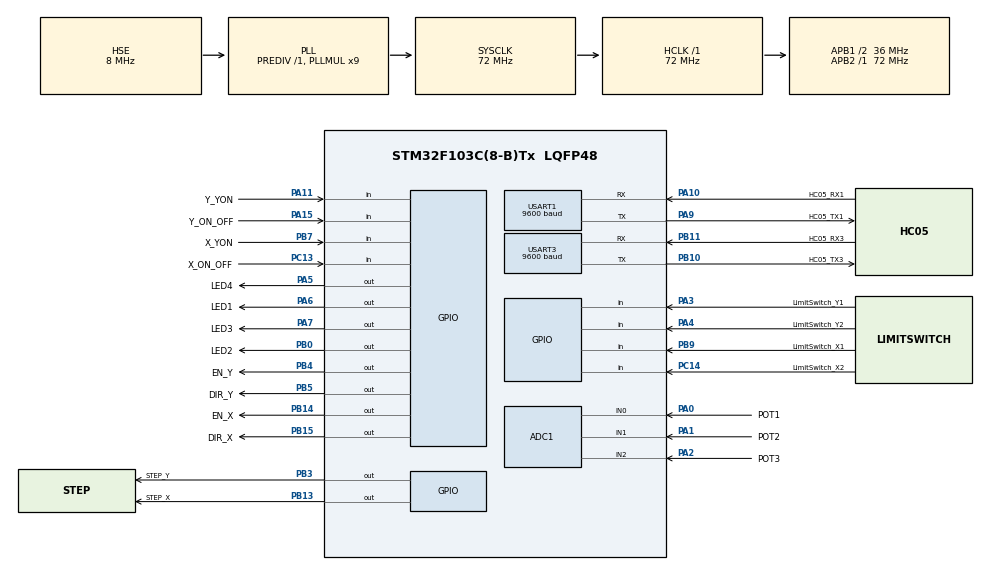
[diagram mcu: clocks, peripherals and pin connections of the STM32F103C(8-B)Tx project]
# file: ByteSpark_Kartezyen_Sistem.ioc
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ADC1.Channel-0\#ChannelRegularConversion=ADC_CHANNEL_0
ADC1.Channel-1\#ChannelRegularConversion=ADC_CHANNEL_1
ADC1.Channel-2\#ChannelRegularConversion=ADC_CHANNEL_2
ADC1.ContinuousConvMode=ENABLE
ADC1.NbrOfConversion=3
ADC1.NbrOfConversionFlag=1
ADC1.Rank-0\#ChannelRegularConversion=1
ADC1.Rank-1\#ChannelRegularConversion=2
ADC1.Rank-2\#ChannelRegularConversion=3
ADC1.SamplingTime-0\#ChannelRegularConversion=ADC_SAMPLETIME_55CYCLES_5
ADC1.SamplingTime-1\#ChannelRegularConversion=ADC_SAMPLETIME_55CYCLES_5
ADC1.SamplingTime-2\#ChannelRegularConversion=ADC_SAMPLETIME_55CYCLES_5
ADC1.master=1
Dma.ADC1.0.Direction=DMA_PERIPH_TO_MEMORY
Dma.ADC1.0.Instance=DMA1_Channel1
Dma.ADC1.0.MemDataAlignment=DMA_MDATAALIGN_WORD
Dma.ADC1.0.MemInc=DMA_MINC_ENABLE
Dma.ADC1.0.Mode=DMA_CIRCULAR
Dma.ADC1.0.PeriphDataAlignment=DMA_PDATAALIGN_WORD
Dma.ADC1.0.PeriphInc=DMA_PINC_DISABLE
Dma.ADC1.0.Priority=DMA_PRIORITY_LOW
Dma.Request0=ADC1
Mcu.Family=STM32F1
Mcu.Name=STM32F103C(8-B)Tx
Mcu.Package=LQFP48
NVIC.DMA1_Channel1_IRQn=true\:0\:0\:false\:false\:true\:false\:true\:true
NVIC.PriorityGroup=NVIC_PRIORITYGROUP_4
NVIC.TIM1_UP_IRQn=true\:0\:0\:false\:false\:true\:true\:true\:true
NVIC.TIM2_IRQn=true\:0\:0\:false\:false\:true\:true\:true\:true
NVIC.TIM3_IRQn=true\:0\:0\:false\:false\:true\:true\:true\:true
NVIC.TIM4_IRQn=true\:0\:0\:false\:false\:true\:true\:true\:true
NVIC.USART1_IRQn=true\:0\:0\:false\:false\:true\:true\:true\:true
NVIC.USART3_IRQn=true\:0\:0\:false\:false\:true\:true\:true\:true
PA0-WKUP.GPIO_Label=POT1
PA0-WKUP.Signal=ADCx_IN0
PA1.GPIO_Label=POT2
PA1.Signal=ADCx_IN1
PA10.GPIO_Label=HC05_RX1
PA10.Mode=Asynchronous
PA10.Signal=USART1_RX
PA11.GPIO_Label=Y_YON
PA11.GPIO_PuPd=GPIO_PULLDOWN
PA11.Signal=GPIO_Input
PA13.Mode=Serial_Wire
PA13.Signal=SYS_JTMS-SWDIO
PA14.Mode=Serial_Wire
PA14.Signal=SYS_JTCK-SWCLK
PA15.GPIO_Label=Y_ON_OFF
PA15.GPIO_PuPd=GPIO_PULLDOWN
PA15.Signal=GPIO_Input
PA2.GPIO_Label=POT3
PA2.Signal=ADCx_IN2
PA3.GPIO_Label=LimitSwitch_Y1
PA3.GPIO_PuPd=GPIO_PULLDOWN
PA3.Signal=GPIO_Input
PA4.GPIO_Label=LimitSwitch_Y2
PA4.GPIO_PuPd=GPIO_PULLDOWN
PA4.Signal=GPIO_Input
PA5.GPIO_Label=LED4
PA5.Signal=GPIO_Output
PA6.GPIO_Label=LED1
PA6.Signal=GPIO_Output
PA7.GPIO_Label=LED3
PA7.Signal=GPIO_Output
PA9.GPIO_Label=HC05_TX1
PA9.Mode=Asynchronous
PA9.Signal=USART1_TX
PB0.GPIO_Label=LED2
PB0.Signal=GPIO_Output
PB10.GPIO_Label=HC05_TX3
PB10.Mode=Asynchronous
PB10.Signal=USART3_TX
PB11.GPIO_Label=HC05_RX3
PB11.Mode=Asynchronous
PB11.Signal=USART3_RX
PB13.GPIO_Label=STEP_X
PB13.Signal=GPIO_Output
PB14.GPIO_Label=EN_X
PB14.Signal=GPIO_Output
PB15.GPIO_Label=DIR_X
PB15.Signal=GPIO_Output
PB3.GPIO_Label=STEP_Y
PB3.Signal=GPIO_Output
PB4.GPIO_Label=EN_Y
PB4.Signal=GPIO_Output
PB5.GPIO_Label=DIR_Y
PB5.Signal=GPIO_Output
PB7.GPIO_Label=X_YON
PB7.Signal=GPIO_Input
PB9.GPIO_Label=LimitSwitch_X1
PB9.GPIO_PuPd=GPIO_PULLDOWN
PB9.Signal=GPIO_Input
PC13-TAMPER-RTC.GPIO_Label=X_ON_OFF
PC13-TAMPER-RTC.GPIO_PuPd=GPIO_NOPULL
PC13-TAMPER-RTC.Signal=GPIO_Input
PC14-OSC32_IN.GPIO_Label=LimitSwitch_X2
PC14-OSC32_IN.GPIO_PuPd=GPIO_PULLDOWN
PC14-OSC32_IN.Signal=GPIO_Input
PD0-OSC_IN.Mode=HSE-External-Oscillator
PD0-OSC_IN.Signal=RCC_OSC_IN
PD1-OSC_OUT.Mode=HSE-External-Oscillator
PD1-OSC_OUT.Signal=RCC_OSC_OUT
ProjectManager.HeapSize=0x200
ProjectManager.StackSize=0x400
ProjectManager.TargetToolchain=STM32CubeIDE
RCC.ADCPresc=RCC_ADCPCLK2_DIV6
RCC.AHBFreq_Value=72000000
RCC.APB1CLKDivider=RCC_HCLK_DIV2
RCC.APB1Freq_Value=36000000
RCC.APB1TimFreq_Value=72000000
RCC.APB2Freq_Value=72000000
RCC.APB2TimFreq_Value=72000000
RCC.HCLKFreq_Value=72000000
RCC.PLLMUL=RCC_PLL_MUL9
RCC.PLLSourceVirtual=RCC_PLLSOURCE_HSE
RCC.SYSCLKFreq_VALUE=72000000
RCC.SYSCLKSource=RCC_SYSCLKSOURCE_PLLCLK
RCC.USBFreq_Value=72000000
SH.ADCx_IN0.0=ADC1_IN0,IN0
SH.ADCx_IN1.0=ADC1_IN1,IN1
SH.ADCx_IN2.0=ADC1_IN2,IN2
TIM1.Period=1000-1
TIM1.Prescaler=7200-1
TIM2.Period=500-1
TIM2.Prescaler=72-1
TIM3.Period=500-1
TIM3.Prescaler=72-1
TIM4.Period=500-1
TIM4.Prescaler=72-1
USART1.BaudRate=9600
USART1.Mode=MODE_RX
USART1.VirtualMode=VM_ASYNC
USART3.BaudRate=9600
USART3.Mode=MODE_RX
USART3.VirtualMode=VM_ASYNC
VP_TIM1_VS_ClockSourceINT.Mode=Internal
VP_TIM2_VS_ClockSourceINT.Mode=Internal
VP_TIM3_VS_ClockSourceINT.Mode=Internal
VP_TIM4_VS_ClockSourceINT.Mode=Internal
board=custom

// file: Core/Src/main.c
/* USER CODE BEGIN Header */
/**
  ******************************************************************************
  * @file           : main.c
  * @brief          : Main program body
  ******************************************************************************
  * @attention
  *
  * Copyright (c) 2023 STMicroelectronics.
  * All rights reserved.
  *
  * This software is licensed under terms that can be found in the LICENSE file
  * in the root directory of this software component.
  * If no LICENSE file comes with this software, it is provided AS-IS.
  *
  ******************************************************************************
  */
/* USER CODE END Header */
#include "main.h"

/* USER CODE BEGIN Includes */
#include "stdbool.h"
#include "string.h"
#include "stdio.h"
#include "math.h"
#include "stdlib.h"
/* USER CODE END Includes */

/* USER CODE BEGIN PTD */

#define PI 3.14159265
#define a1 60	// Kol UzunluÄŸu 1. Kol (cm)
#define a2 50	// Kol UzunluÄŸu 2. Kol (cm)
#define a3 40	// Kol UzunluÄŸu 3. Kol (cm)

#define motor_tam_tur_mesafe 32 //360 derecede 32mm ilerliyor

/* USER CODE END PTD */

/* USER CODE BEGIN PD */

//Motor Kontrol Degiskenleri
bool yon = false; //false: sag true:sol
bool yon_degisim_chc;
bool if_giris_kontrol;
uint8_t false_sayaci;
uint16_t sayac_x,sayac_y, limit_x=3200, limit_y=3200;
bool hareket_izin_x=false, hareket_izin_y=false;

bool adım_takip = false;

//Pot Variable
uint32_t ADC_Buffer[3];
float Pot1, Pot2, Pot3;//3 ADC değişkeni

float eksen_X,eksen_Y;//Kartezyen sistem X ve Y Sınırları

float T01[4][4], T12[4][4], T23[4][4], T02[4][4], T03[4][4]; //ASIL Matrisleri

float P[3][1]; //Pozisyon Matrisi (Çıktı Matrisi)

uint16_t x_ekseni_mesafe_aci_cevrimi;
uint16_t y_ekseni_mesafe_aci_cevrimi;

uint16_t x_ekseni_mesafe_aci_cevrimi_son=0;
uint16_t y_ekseni_mesafe_aci_cevrimi_son=0;

uint16_t x_yeni_dönme_acı_cevrimi;
uint16_t y_yeni_dönme_acı_cevrimi;

//UART DMA Degiskenler
#define RxBuf_SIZE   1
uint8_t len;
uint8_t	RxBuffer[RxBuf_SIZE];
extern DMA_HandleTypeDef hdma_usart1_rx;

/* USER CODE END PD */

ADC_HandleTypeDef hadc1;
DMA_HandleTypeDef hdma_adc1;

TIM_HandleTypeDef htim1;
TIM_HandleTypeDef htim2;
TIM_HandleTypeDef htim3;
TIM_HandleTypeDef htim4;

UART_HandleTypeDef huart1;
UART_HandleTypeDef huart3;

void SystemClock_Config(void);
static void MX_GPIO_Init(void);
static void MX_DMA_Init(void);
static void MX_ADC1_Init(void);
static void MX_USART1_UART_Init(void);
static void MX_USART3_UART_Init(void);
static void MX_TIM2_Init(void);
static void MX_TIM3_Init(void);
static void MX_TIM4_Init(void);
static void MX_TIM1_Init(void);

/* USER CODE BEGIN 0 */
/*
//HC05 Veri Okuma
void HAL_UARTEx_RxEventCallback(UART_HandleTypeDef *huart, uint16_t Size)
{
  if(huart->Instance == USART1)
  {
    HAL_UARTEx_ReceiveToIdle_DMA(&huart1, RxBuffer, RxBuf_SIZE);
		 __HAL_DMA_DISABLE_IT(&hdma_usart1_rx, DMA_IT_HT);
    for(int i=Size;i<RxBuf_SIZE;i++)
      RxBuffer[i]=0;
  }
}
*/

//Matris Çarpım Fonk
void carpim(float m[4][4], float n[4][4], float result[4][4])
{
  for(int i=0; i < 4; i++)
  {
    for(int j=0; j < 4; j++)
    {
      result[i][j] = 0;
      for (int k = 0; k < 4; k++)
      result[i][j] += m[i][k] * n[k][j];
    }
  }
}

//Matris Live Expresion'da Gösterme Fonksiyonu
void matris_donusturme(float ham_matris[4][4], float islenmis_matris[4][4])
{
	for(int i=0;i<4;i++)
	{
		for(int j=0;j<4;j++)
		{
			islenmis_matris[i][j]=ham_matris[i][j];
		}
	}
}

void HAL_UART_RxHalfCpltCallback(UART_HandleTypeDef *huart)
{
  HAL_GPIO_TogglePin (LED1_GPIO_Port, LED1_Pin);
}

//Acı Hesaplama
uint16_t aci_hesaplama(float aci)
{
	float motor_aci = 3200*(aci/360);
	return motor_aci;
}

//Map Fonksiyonu
float map(long x, long in_min, long in_max, long out_min, long out_max) {
  return (x - in_min) * (out_max - out_min) / (in_max - in_min) + out_min;
}

//ADC CallBack Fonksiyonu
void HAL_ADC_ConvCpltCallback(ADC_HandleTypeDef* hadc)
{
	if(hadc -> Instance == ADC1)
	{
		//d1 d2 ve d3 parametreleri 3 adet POT'tan okunmaktadır.
		Pot1 = map(ADC_Buffer[0],0,4096,0,360);
		Pot2 = map(ADC_Buffer[1],0,4096,0,360);
		Pot3 = map(ADC_Buffer[2],0,4096,0,360);
	}
}

//Yon Toggle Yapma Fonk X
void yon_degistir_x(bool buton_input){

	if(buton_input==true){
		false_sayaci=0;

		if(yon_degisim_chc==true && if_giris_kontrol==true){
			HAL_GPIO_WritePin(DIR_X_GPIO_Port,DIR_X_Pin, 0);
			if_giris_kontrol=false;
			yon_degisim_chc=false;
		}
		if(yon_degisim_chc==false && if_giris_kontrol==true){
			HAL_GPIO_WritePin(DIR_X_GPIO_Port,DIR_X_Pin, 1);
			if_giris_kontrol=false;
			yon_degisim_chc=true;
		}
	}
	if(buton_input==false){
		false_sayaci++;
		if(false_sayaci >= 3){
			if_giris_kontrol=true;
			false_sayaci=0;
		}
	}
}

//Yon Toggle Yapma Fonk Y
void yon_degistir_y(bool buton_input){

	if(buton_input==true){
		false_sayaci=0;

		if(yon_degisim_chc==true && if_giris_kontrol==true){
			HAL_GPIO_WritePin(DIR_Y_GPIO_Port,DIR_Y_Pin, 0);
			if_giris_kontrol=false;
			yon_degisim_chc=false;
		}
		if(yon_degisim_chc==false && if_giris_kontrol==true){
			HAL_GPIO_WritePin(DIR_Y_GPIO_Port,DIR_Y_Pin, 1);
			if_giris_kontrol=false;
			yon_degisim_chc=true;
		}
	}
	if(buton_input==false){
		false_sayaci++;
		if(false_sayaci >= 3){
			if_giris_kontrol=true;
			false_sayaci=0;
		}
	}
}

void HAL_TIM_PeriodElapsedCallback(TIM_HandleTypeDef* htim)
{
	if (htim == &htim1)//10Hz	Kinematik Matris İşlemleri
	{
		float d1 = Pot1;	// Degisken UzunluÄŸu 1. Kol
		float d2 = Pot2;	// Degisken UzunluÄŸu 2. Kol
		float d3 = Pot3;	// Degisken UzunluÄŸu 3. Kol

		float val = PI/180; //Radyan Çevirme Çarpanı
		float teta_1=90, alfa_1=90, r_1=0, d_1=a1+d1; //1 DH Satır
		float teta_2=90, alfa_2=-90, r_2=0, d_2=a2+d2; //2 DH Satır
		float teta_3=0, alfa_3=0, r_3=0, d_3=a3+d3; //3 DH Satır

		//T01 matrisi Degiskenleri
		float a_00 = (cos(teta_1*val));
		float a_01 = -sin(teta_1*val)*cos(alfa_1*val);
		float a_11 = cos(teta_1*val)*cos(alfa_1*val);
		float a_12 = -cos(teta_1*val)*sin(alfa_1*val);
		float a_22 = cos(alfa_1*val);

		//T12 matrisi Degiskenleri
		float b_00 = cos(teta_2*val);
		float b_01 = -sin(teta_2*val)*cos(alfa_2*val);
		float b_11 = cos(teta_2*val)*cos(alfa_2*val);
		float b_12 = -cos(teta_2*val)*sin(alfa_2*val);
		float b_22 = cos(alfa_2*val);

		//T23 matrisi Degiskenleri
		float c_01 = (-sin(teta_3*val)*cos(alfa_3*val));
		float c_12 = -cos(teta_3*val)*sin(alfa_3*val);

		//ASIL MATRÄ°SLER
		float a[4][4]={
			{ a_00, a_01, sin(teta_1*val)*sin(alfa_1*val), r_1*cos(teta_1*val)},
			{ sin(teta_1*val), a_11, a_12, r_1*sin(teta_1*val)},
			{0, sin(alfa_1*val), a_22, d_1},
			{0, 0, 0, 1}};

		float b[4][4]={
			{ b_00, b_01, sin(teta_2*val)*sin(alfa_2*val), r_2*cos(teta_2*val)},
			{ sin(teta_2*val), b_11, b_12, r_2*sin(teta_2*val)},
			{0, sin(alfa_2*val), b_22, d_2},
			{0, 0, 0, 1}};

		float c[4][4]={
			{cos(teta_3*val), c_01, sin(teta_3*val)*sin(alfa_3*val), r_3*cos(teta_3*val)},
			{ sin(teta_3*val), cos(teta_3*val)*cos(alfa_3*val), c_12, r_3*sin(teta_3*val)},
			{0, sin(alfa_3*val), cos(alfa_3*val), d_3},
			{0, 0, 0, 1}};

		  matris_donusturme(a, T01);
		  matris_donusturme(b, T12);
		  matris_donusturme(c, T23);

		  carpim(T01, T12, T02);
		  carpim(T02, T23, T03);

		  P[0][0] = T03[0][3];
		  P[1][0] = T03[1][3];
		  P[2][0] = T03[2][3];

		  //X ve Y ekseni Ölçekleme
		  eksen_X = map(P[0][0],50,405,0,59);
		  eksen_Y = map(P[1][0],-40,-395,0,130);

		  if(adım_takip == true)//
		  {
			  x_ekseni_mesafe_aci_cevrimi = ((eksen_X*10) / motor_tam_tur_mesafe)*360;
			  y_ekseni_mesafe_aci_cevrimi = ((eksen_Y*10) / motor_tam_tur_mesafe)*360;
		  }

		  if(adım_takip == false)
		  {
			  x_ekseni_mesafe_aci_cevrimi_son = ((eksen_X*10) / motor_tam_tur_mesafe)*360;
			  y_ekseni_mesafe_aci_cevrimi_son = ((eksen_Y*10) / motor_tam_tur_mesafe)*360;
		  }

		  //Acı Değerleri Yazdırma Koşulları
		  if(x_ekseni_mesafe_aci_cevrimi > x_ekseni_mesafe_aci_cevrimi_son)
		  {
			  yon_degistir_x(1);
			  x_yeni_dönme_acı_cevrimi = x_ekseni_mesafe_aci_cevrimi- x_ekseni_mesafe_aci_cevrimi_son;
		  }

		  if(x_ekseni_mesafe_aci_cevrimi < x_ekseni_mesafe_aci_cevrimi_son)
		  {
			  x_yeni_dönme_acı_cevrimi = x_ekseni_mesafe_aci_cevrimi- x_ekseni_mesafe_aci_cevrimi_son;
		  }

		  if(y_ekseni_mesafe_aci_cevrimi > y_ekseni_mesafe_aci_cevrimi_son)
		  {
			  yon_degistir_y(1);
			  y_yeni_dönme_acı_cevrimi = y_ekseni_mesafe_aci_cevrimi- y_ekseni_mesafe_aci_cevrimi_son;
		  }

		  if(y_ekseni_mesafe_aci_cevrimi < y_ekseni_mesafe_aci_cevrimi_son)
		  {
			  y_yeni_dönme_acı_cevrimi = y_ekseni_mesafe_aci_cevrimi- y_ekseni_mesafe_aci_cevrimi_son;
		  }

	}

	if (htim == &htim2)//2KHz	Genel Step Motor Ayarları
	{

		HAL_GPIO_WritePin(EN_X_GPIO_Port, EN_X_Pin, 0);
		HAL_GPIO_WritePin(EN_Y_GPIO_Port, EN_Y_Pin, 0);

		yon_degistir_x(HAL_GPIO_ReadPin(X_YON_GPIO_Port, X_YON_Pin));
		yon_degistir_y(HAL_GPIO_ReadPin(Y_YON_GPIO_Port, Y_YON_Pin));

		if(HAL_GPIO_ReadPin(Y_ON_OFF_GPIO_Port, Y_ON_OFF_Pin)){
			hareket_izin_y=true;

			adım_takip = true;

			HAL_TIM_Base_Start_IT(&htim4);
		}

		if(HAL_GPIO_ReadPin(X_ON_OFF_GPIO_Port, X_ON_OFF_Pin)){
			hareket_izin_x=true;

			adım_takip = true;

			HAL_TIM_Base_Start_IT(&htim3);
		}
	}

	if (htim == &htim3)//2KHz	X Ekseni Step Motor Hareket
	{
		if(hareket_izin_x==true){
			limit_x=aci_hesaplama(x_ekseni_mesafe_aci_cevrimi);
		}

		HAL_GPIO_TogglePin(STEP_X_GPIO_Port, STEP_X_Pin);
		sayac_x++;

		if(HAL_GPIO_ReadPin(LimitSwitch_X1_GPIO_Port, LimitSwitch_X1_Pin)){
			yon_degistir_x(1);
			sayac_x=0;
			limit_x=aci_hesaplama(75);
			hareket_izin_x=false;
		}

		if(HAL_GPIO_ReadPin(LimitSwitch_X2_GPIO_Port, LimitSwitch_X2_Pin)){
			yon_degistir_x(1);
			sayac_x=0;
			limit_x=aci_hesaplama(75);
			hareket_izin_x=false;
		}

		if(sayac_x >= limit_x){
			sayac_x=0;
			adım_takip = false;

			HAL_TIM_Base_Stop_IT(&htim3);

			//HAL_TIM_Base_Stop_IT(&htim1);
		}
	}

	if (htim == &htim4)//2KHz	Y Ekseni Step Motor Hareket
	{
		if(hareket_izin_y==true){
			limit_y=aci_hesaplama(y_ekseni_mesafe_aci_cevrimi);
		}
		HAL_GPIO_TogglePin(STEP_Y_GPIO_Port, STEP_Y_Pin);
		sayac_y++;

		if(HAL_GPIO_ReadPin(LimitSwitch_Y1_GPIO_Port, LimitSwitch_Y1_Pin)){
			yon_degistir_y(1);
			sayac_y=0;
			limit_y=aci_hesaplama(75);
			hareket_izin_y=false;
		}

		if(HAL_GPIO_ReadPin(LimitSwitch_Y2_GPIO_Port, LimitSwitch_Y2_Pin)){
			yon_degistir_y(1);
			sayac_y=0;
			limit_y=aci_hesaplama(75);
			hareket_izin_y=false;
		}

		if(sayac_y >= limit_y){
			sayac_y=0;
			adım_takip = false;

			HAL_TIM_Base_Stop_IT(&htim4);

			//HAL_TIM_Base_Stop_IT(&htim1);
		}
	}
}

/* USER CODE END 0 */

int main(void)
{

  /* MCU Configuration--------------------------------------------------------*/

  /* Reset of all peripherals, Initializes the Flash interface and the Systick. */
   HAL_Init();

  /* Configure the system clock */
  SystemClock_Config();

  /* Initialize all configured peripherals */
  MX_GPIO_Init();
  MX_DMA_Init();
  MX_ADC1_Init();
  MX_USART1_UART_Init();
  MX_USART3_UART_Init();
  MX_TIM2_Init();
  MX_TIM3_Init();
  MX_TIM4_Init();
  MX_TIM1_Init();
  /* USER CODE BEGIN 2 */
  //Timer Start
  HAL_TIM_Base_Start_IT(&htim2);
  HAL_TIM_Base_Start_IT(&htim1);

  //ADC DMA Start
  HAL_ADC_Start_DMA(&hadc1, ADC_Buffer, 3);
  /* USER CODE END 2 */

  /* Infinite loop */
  while (1)
  {

  }
}

void SystemClock_Config(void)
{
  RCC_OscInitTypeDef RCC_OscInitStruct = {0};
  RCC_ClkInitTypeDef RCC_ClkInitStruct = {0};
  RCC_PeriphCLKInitTypeDef PeriphClkInit = {0};

  /** Initializes the RCC Oscillators according to the specified parameters
  * in the RCC_OscInitTypeDef structure.
  */
  RCC_OscInitStruct.OscillatorType = RCC_OSCILLATORTYPE_HSE;
  RCC_OscInitStruct.HSEState = RCC_HSE_ON;
  RCC_OscInitStruct.HSEPredivValue = RCC_HSE_PREDIV_DIV1;
  RCC_OscInitStruct.HSIState = RCC_HSI_ON;
  RCC_OscInitStruct.PLL.PLLState = RCC_PLL_ON;
  RCC_OscInitStruct.PLL.PLLSource = RCC_PLLSOURCE_HSE;
  RCC_OscInitStruct.PLL.PLLMUL = RCC_PLL_MUL9;
  if (HAL_RCC_OscConfig(&RCC_OscInitStruct) != HAL_OK)
  {
    Error_Handler();
  }

  /** Initializes the CPU, AHB and APB buses clocks
  */
  RCC_ClkInitStruct.ClockType = RCC_CLOCKTYPE_HCLK|RCC_CLOCKTYPE_SYSCLK
                              |RCC_CLOCKTYPE_PCLK1|RCC_CLOCKTYPE_PCLK2;
  RCC_ClkInitStruct.SYSCLKSource = RCC_SYSCLKSOURCE_PLLCLK;
  RCC_ClkInitStruct.AHBCLKDivider = RCC_SYSCLK_DIV1;
  RCC_ClkInitStruct.APB1CLKDivider = RCC_HCLK_DIV2;
  RCC_ClkInitStruct.APB2CLKDivider = RCC_HCLK_DIV1;

  if (HAL_RCC_ClockConfig(&RCC_ClkInitStruct, FLASH_LATENCY_2) != HAL_OK)
  {
    Error_Handler();
  }
  PeriphClkInit.PeriphClockSelection = RCC_PERIPHCLK_ADC;
  PeriphClkInit.AdcClockSelection = RCC_ADCPCLK2_DIV6;
  if (HAL_RCCEx_PeriphCLKConfig(&PeriphClkInit) != HAL_OK)
  {
    Error_Handler();
  }
}

static void MX_ADC1_Init(void)
{

  ADC_ChannelConfTypeDef sConfig = {0};

  /** Common config
  */
  hadc1.Instance = ADC1;
  hadc1.Init.ScanConvMode = ADC_SCAN_ENABLE;
  hadc1.Init.ContinuousConvMode = ENABLE;
  hadc1.Init.DiscontinuousConvMode = DISABLE;
  hadc1.Init.ExternalTrigConv = ADC_SOFTWARE_START;
  hadc1.Init.DataAlign = ADC_DATAALIGN_RIGHT;
  hadc1.Init.NbrOfConversion = 3;
  if (HAL_ADC_Init(&hadc1) != HAL_OK)
  {
    Error_Handler();
  }

  /** Configure Regular Channel
  */
  sConfig.Channel = ADC_CHANNEL_0;
  sConfig.Rank = ADC_REGULAR_RANK_1;
  sConfig.SamplingTime = ADC_SAMPLETIME_55CYCLES_5;
  if (HAL_ADC_ConfigChannel(&hadc1, &sConfig) != HAL_OK)
  {
    Error_Handler();
  }

  /** Configure Regular Channel
  */
  sConfig.Channel = ADC_CHANNEL_1;
  sConfig.Rank = ADC_REGULAR_RANK_2;
  if (HAL_ADC_ConfigChannel(&hadc1, &sConfig) != HAL_OK)
  {
    Error_Handler();
  }

  /** Configure Regular Channel
  */
  sConfig.Channel = ADC_CHANNEL_2;
  sConfig.Rank = ADC_REGULAR_RANK_3;
  if (HAL_ADC_ConfigChannel(&hadc1, &sConfig) != HAL_OK)
  {
    Error_Handler();
  }

}

static void MX_TIM1_Init(void)
{

  TIM_ClockConfigTypeDef sClockSourceConfig = {0};
  TIM_MasterConfigTypeDef sMasterConfig = {0};

  htim1.Instance = TIM1;
  htim1.Init.Prescaler = 7200-1;
  htim1.Init.CounterMode = TIM_COUNTERMODE_UP;
  htim1.Init.Period = 1000-1;
  htim1.Init.ClockDivision = TIM_CLOCKDIVISION_DIV1;
  htim1.Init.RepetitionCounter = 0;
  htim1.Init.AutoReloadPreload = TIM_AUTORELOAD_PRELOAD_DISABLE;
  if (HAL_TIM_Base_Init(&htim1) != HAL_OK)
  {
    Error_Handler();
  }
  sClockSourceConfig.ClockSource = TIM_CLOCKSOURCE_INTERNAL;
  if (HAL_TIM_ConfigClockSource(&htim1, &sClockSourceConfig) != HAL_OK)
  {
    Error_Handler();
  }
  sMasterConfig.MasterOutputTrigger = TIM_TRGO_RESET;
  sMasterConfig.MasterSlaveMode = TIM_MASTERSLAVEMODE_DISABLE;
  if (HAL_TIMEx_MasterConfigSynchronization(&htim1, &sMasterConfig) != HAL_OK)
  {
    Error_Handler();
  }

}

static void MX_TIM2_Init(void)
{

  TIM_ClockConfigTypeDef sClockSourceConfig = {0};
  TIM_MasterConfigTypeDef sMasterConfig = {0};

  htim2.Instance = TIM2;
  htim2.Init.Prescaler = 72-1;
  htim2.Init.CounterMode = TIM_COUNTERMODE_UP;
  htim2.Init.Period = 500-1;
  htim2.Init.ClockDivision = TIM_CLOCKDIVISION_DIV1;
  htim2.Init.AutoReloadPreload = TIM_AUTORELOAD_PRELOAD_DISABLE;
  if (HAL_TIM_Base_Init(&htim2) != HAL_OK)
  {
    Error_Handler();
  }
  sClockSourceConfig.ClockSource = TIM_CLOCKSOURCE_INTERNAL;
  if (HAL_TIM_ConfigClockSource(&htim2, &sClockSourceConfig) != HAL_OK)
  {
    Error_Handler();
  }
  sMasterConfig.MasterOutputTrigger = TIM_TRGO_RESET;
  sMasterConfig.MasterSlaveMode = TIM_MASTERSLAVEMODE_DISABLE;
  if (HAL_TIMEx_MasterConfigSynchronization(&htim2, &sMasterConfig) != HAL_OK)
  {
    Error_Handler();
  }

}

static void MX_TIM3_Init(void)
{

  TIM_ClockConfigTypeDef sClockSourceConfig = {0};
  TIM_MasterConfigTypeDef sMasterConfig = {0};

  htim3.Instance = TIM3;
  htim3.Init.Prescaler = 72-1;
  htim3.Init.CounterMode = TIM_COUNTERMODE_UP;
  htim3.Init.Period = 500-1;
  htim3.Init.ClockDivision = TIM_CLOCKDIVISION_DIV1;
  htim3.Init.AutoReloadPreload = TIM_AUTORELOAD_PRELOAD_DISABLE;
  if (HAL_TIM_Base_Init(&htim3) != HAL_OK)
  {
    Error_Handler();
  }
  sClockSourceConfig.ClockSource = TIM_CLOCKSOURCE_INTERNAL;
  if (HAL_TIM_ConfigClockSource(&htim3, &sClockSourceConfig) != HAL_OK)
  {
    Error_Handler();
  }
  sMasterConfig.MasterOutputTrigger = TIM_TRGO_RESET;
  sMasterConfig.MasterSlaveMode = TIM_MASTERSLAVEMODE_DISABLE;
  if (HAL_TIMEx_MasterConfigSynchronization(&htim3, &sMasterConfig) != HAL_OK)
  {
    Error_Handler();
  }

}

static void MX_TIM4_Init(void)
{

  TIM_ClockConfigTypeDef sClockSourceConfig = {0};
  TIM_MasterConfigTypeDef sMasterConfig = {0};

  htim4.Instance = TIM4;
  htim4.Init.Prescaler = 72-1;
  htim4.Init.CounterMode = TIM_COUNTERMODE_UP;
  htim4.Init.Period = 500-1;
  htim4.Init.ClockDivision = TIM_CLOCKDIVISION_DIV1;
  htim4.Init.AutoReloadPreload = TIM_AUTORELOAD_PRELOAD_DISABLE;
  if (HAL_TIM_Base_Init(&htim4) != HAL_OK)
  {
    Error_Handler();
  }
  sClockSourceConfig.ClockSource = TIM_CLOCKSOURCE_INTERNAL;
  if (HAL_TIM_ConfigClockSource(&htim4, &sClockSourceConfig) != HAL_OK)
  {
    Error_Handler();
  }
  sMasterConfig.MasterOutputTrigger = TIM_TRGO_RESET;
  sMasterConfig.MasterSlaveMode = TIM_MASTERSLAVEMODE_DISABLE;
  if (HAL_TIMEx_MasterConfigSynchronization(&htim4, &sMasterConfig) != HAL_OK)
  {
    Error_Handler();
  }

}

static void MX_USART1_UART_Init(void)
{

  huart1.Instance = USART1;
  huart1.Init.BaudRate = 9600;
  huart1.Init.WordLength = UART_WORDLENGTH_8B;
  huart1.Init.StopBits = UART_STOPBITS_1;
  huart1.Init.Parity = UART_PARITY_NONE;
  huart1.Init.Mode = UART_MODE_RX;
  huart1.Init.HwFlowCtl = UART_HWCONTROL_NONE;
  huart1.Init.OverSampling = UART_OVERSAMPLING_16;
  if (HAL_UART_Init(&huart1) != HAL_OK)
  {
    Error_Handler();
  }

}

static void MX_USART3_UART_Init(void)
{

  huart3.Instance = USART3;
  huart3.Init.BaudRate = 9600;
  huart3.Init.WordLength = UART_WORDLENGTH_8B;
  huart3.Init.StopBits = UART_STOPBITS_1;
  huart3.Init.Parity = UART_PARITY_NONE;
  huart3.Init.Mode = UART_MODE_RX;
  huart3.Init.HwFlowCtl = UART_HWCONTROL_NONE;
  huart3.Init.OverSampling = UART_OVERSAMPLING_16;
  if (HAL_UART_Init(&huart3) != HAL_OK)
  {
    Error_Handler();
  }

}

static void MX_DMA_Init(void)
{

  /* DMA controller clock enable */
  __HAL_RCC_DMA1_CLK_ENABLE();

  /* DMA interrupt init */
  /* DMA1_Channel1_IRQn interrupt configuration */
  HAL_NVIC_SetPriority(DMA1_Channel1_IRQn, 0, 0);
  HAL_NVIC_EnableIRQ(DMA1_Channel1_IRQn);

}

static void MX_GPIO_Init(void)
{
  GPIO_InitTypeDef GPIO_InitStruct = {0};

  /* GPIO Ports Clock Enable */
  __HAL_RCC_GPIOC_CLK_ENABLE();
  __HAL_RCC_GPIOD_CLK_ENABLE();
  __HAL_RCC_GPIOA_CLK_ENABLE();
  __HAL_RCC_GPIOB_CLK_ENABLE();

  /*Configure GPIO pin Output Level */
  HAL_GPIO_WritePin(GPIOA, LED4_Pin|LED1_Pin|LED3_Pin, GPIO_PIN_RESET);

  /*Configure GPIO pin Output Level */
  HAL_GPIO_WritePin(GPIOB, LED2_Pin|STEP_X_Pin|EN_X_Pin|DIR_X_Pin
                          |STEP_Y_Pin|EN_Y_Pin|DIR_Y_Pin, GPIO_PIN_RESET);

  /*Configure GPIO pin : X_ON_OFF_Pin */
  GPIO_InitStruct.Pin = X_ON_OFF_Pin;
  GPIO_InitStruct.Mode = GPIO_MODE_INPUT;
  GPIO_InitStruct.Pull = GPIO_NOPULL;
  HAL_GPIO_Init(X_ON_OFF_GPIO_Port, &GPIO_InitStruct);

  /*Configure GPIO pin : LimitSwitch_X2_Pin */
  GPIO_InitStruct.Pin = LimitSwitch_X2_Pin;
  GPIO_InitStruct.Mode = GPIO_MODE_INPUT;
  GPIO_InitStruct.Pull = GPIO_PULLDOWN;
  HAL_GPIO_Init(LimitSwitch_X2_GPIO_Port, &GPIO_InitStruct);

  /*Configure GPIO pins : LimitSwitch_Y1_Pin LimitSwitch_Y2_Pin Y_YON_Pin Y_ON_OFF_Pin */
  GPIO_InitStruct.Pin = LimitSwitch_Y1_Pin|LimitSwitch_Y2_Pin|Y_YON_Pin|Y_ON_OFF_Pin;
  GPIO_InitStruct.Mode = GPIO_MODE_INPUT;
  GPIO_InitStruct.Pull = GPIO_PULLDOWN;
  HAL_GPIO_Init(GPIOA, &GPIO_InitStruct);

  /*Configure GPIO pins : LED4_Pin LED1_Pin LED3_Pin */
  GPIO_InitStruct.Pin = LED4_Pin|LED1_Pin|LED3_Pin;
  GPIO_InitStruct.Mode = GPIO_MODE_OUTPUT_PP;
  GPIO_InitStruct.Pull = GPIO_NOPULL;
  GPIO_InitStruct.Speed = GPIO_SPEED_FREQ_LOW;
  HAL_GPIO_Init(GPIOA, &GPIO_InitStruct);

  /*Configure GPIO pins : LED2_Pin STEP_X_Pin EN_X_Pin DIR_X_Pin
                           STEP_Y_Pin EN_Y_Pin DIR_Y_Pin */
  GPIO_InitStruct.Pin = LED2_Pin|STEP_X_Pin|EN_X_Pin|DIR_X_Pin
                          |STEP_Y_Pin|EN_Y_Pin|DIR_Y_Pin;
  GPIO_InitStruct.Mode = GPIO_MODE_OUTPUT_PP;
  GPIO_InitStruct.Pull = GPIO_NOPULL;
  GPIO_InitStruct.Speed = GPIO_SPEED_FREQ_LOW;
  HAL_GPIO_Init(GPIOB, &GPIO_InitStruct);

  /*Configure GPIO pin : X_YON_Pin */
  GPIO_InitStruct.Pin = X_YON_Pin;
  GPIO_InitStruct.Mode = GPIO_MODE_INPUT;
  GPIO_InitStruct.Pull = GPIO_NOPULL;
  HAL_GPIO_Init(X_YON_GPIO_Port, &GPIO_InitStruct);

  /*Configure GPIO pin : LimitSwitch_X1_Pin */
  GPIO_InitStruct.Pin = LimitSwitch_X1_Pin;
  GPIO_InitStruct.Mode = GPIO_MODE_INPUT;
  GPIO_InitStruct.Pull = GPIO_PULLDOWN;
  HAL_GPIO_Init(LimitSwitch_X1_GPIO_Port, &GPIO_InitStruct);

}

void Error_Handler(void)
{
  __disable_irq();
  while (1)
  {
  }
}
